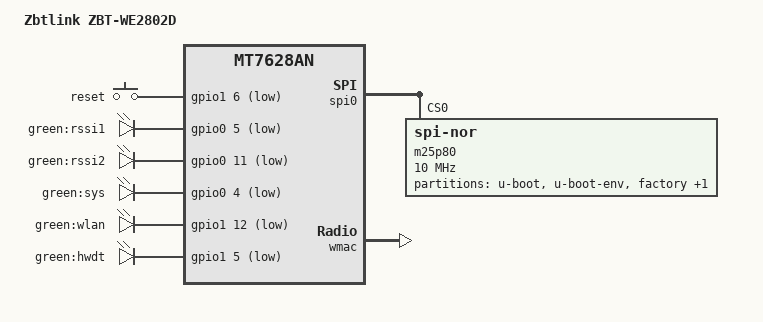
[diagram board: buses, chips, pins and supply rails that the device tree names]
/dts-v1/;

#include "mt7628an.dtsi"

#include <dt-bindings/gpio/gpio.h>
#include <dt-bindings/input/input.h>

/ {
	compatible = "zbtlink,zbt-we2802d", "mediatek,mt7628an-soc";
	model = "Zbtlink ZBT-WE2802D";

	aliases {
		led-boot = &sys;
		led-failsafe = &sys;
		led-running = &sys;
		led-upgrade = &sys;
	};

	chosen {
		bootargs = "console=ttyS0,115200";
	};

	keys {
		compatible = "gpio-keys-polled";
		poll-interval = <20>;

		reset {
			label = "reset";
			gpios = <&gpio1 6 GPIO_ACTIVE_LOW>;
			linux,code = <KEY_RESTART>;
		};
	};

	leds {
		compatible = "gpio-leds";

		rssi1: rssi1 {
			label = "green:rssi1";
			gpios = <&gpio0 5 GPIO_ACTIVE_LOW>;
		};

		rssi2: rssi2 {
			label = "green:rssi2";
			gpios = <&gpio0 11 GPIO_ACTIVE_LOW>;
		};

		sys: sys {
			label = "green:sys";
			gpios = <&gpio0 4 GPIO_ACTIVE_LOW>;
		};

		wlan: wlan {
			label = "green:wlan";
			gpios = <&gpio1 12 GPIO_ACTIVE_LOW>;
		};

		hwdt: hwdt {
			label = "green:hwdt";
			gpios = <&gpio1 5 GPIO_ACTIVE_LOW>;
			linux,default-trigger = "timer";
		};
	};
};

&spi0 {
	status = "okay";

	m25p80@0 {
		compatible = "jedec,spi-nor";
		reg = <0>;
		spi-max-frequency = <10000000>;

		partitions {
			compatible = "fixed-partitions";
			#address-cells = <1>;
			#size-cells = <1>;

			partition@0 {
				label = "u-boot";
				reg = <0x0 0x30000>;
				read-only;
			};

			partition@30000 {
				label = "u-boot-env";
				reg = <0x30000 0x10000>;
				read-only;
			};

			factory: partition@40000 {
				label = "factory";
				reg = <0x40000 0x10000>;
				read-only;
			};

			partition@50000 {
				compatible = "denx,uimage";
				label = "firmware";
				reg = <0x50000 0xfb0000>;
			};
		};
	};
};

&ethernet {
	mtd-mac-address = <&factory 0x28>;
};

&wmac {
	status = "okay";
	ralink,mtd-eeprom = <&factory 0x4>;
};

&pinctrl {
	state_default: pinctrl0 {
		gpio {
			ralink,group = "wdt", "refclk", "wled_an", "gpio", "i2s", "i2c", "p3led_an";
			ralink,function = "gpio";
		};
	};
};

